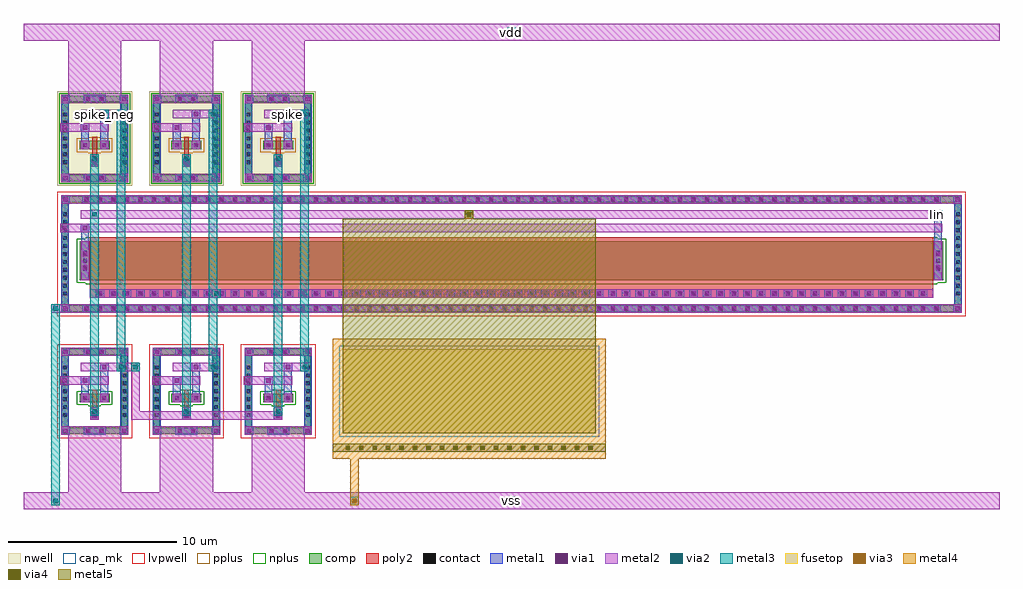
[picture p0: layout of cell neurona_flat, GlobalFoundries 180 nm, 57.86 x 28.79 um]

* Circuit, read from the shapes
.subckt neurona_flat Iin spike spike_neg vdd vss
XM1 Iin n1 vss vss nfet_03v3 w=2.3u l=50u
XM2 spike_neg Iin vss vss nfet_03v3 w=0.5u l=0.28u
XM3 n1 spike_neg vss vss nfet_03v3 w=0.5u l=0.28u
XM4 spike spike_neg vss vss nfet_03v3 w=0.5u l=0.28u
XM5 spike_neg Iin vdd vdd pfet_03v3 w=0.5u l=0.28u
XM6 n1 spike_neg vdd vdd pfet_03v3 w=0.5u l=0.28u
XM7 spike spike_neg vdd vdd pfet_03v3 w=0.5u l=0.28u
XC8 n2 vss cap_mim_2f0fF c_width=15u c_length=5u
.ends

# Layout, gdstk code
import gdstk
lib = gdstk.Library(unit=1e-6, precision=1e-09)
def R(c, l, rs):  # rectangles x0, y0, x1, y1
    for r in rs: c.add(gdstk.rectangle(r[:2], r[2:], *l))
def A(c, l, x, y, w, h, nx, ny, dx, dy):  # array of equal rectangles
    R(c, l, [(x+i*dx, y+j*dy, x+i*dx+w, y+j*dy+h) for i in range(nx) for j in range(ny)])
nwell = (21, 0)
comp = (22, 0)
poly2 = (30, 0)
pplus = (31, 0)
nplus = (32, 0)
contact = (33, 0)
metal1 = (34, 0)
via1 = (35, 0)
metal2 = (36, 0)
via2 = (38, 0)
via3 = (40, 0)
via4 = (41, 0)
metal3 = (42, 0)
metal4 = (46, 0)
fusetop = (75, 0)
metal5 = (81, 0)
cap_mk = (117, 5)
lvpwell = (204, 0)

neurona_flat = lib.new_cell('neurona_flat')
A(neurona_flat, nwell, 0, 14.99, 4.44, 5.6, 3, 1, 5.44, 0)
A(neurona_flat, comp, 0.28, 0.28, 3.88, 0.36, 3, 2, 5.44, 4.68)
A(neurona_flat, comp, 1.33, 2.145, 1.78, 0.5, 3, 2, 5.44, 14.99)
A(neurona_flat, comp, 0.28, 15.27, 3.88, 0.36, 3, 2, 5.44, 4.68)
R(neurona_flat, comp, [(0.28,0.64,0.64,4.96), (3.8,0.64,4.16,4.96), (5.72,0.64,6.08,4.96), (9.24,0.64,9.6,4.96), (11.16,0.64,11.52,4.96), (14.68,0.64,15.04,4.96), (0.28,7.525,53.58,7.885), (0.28,7.885,0.64,13.995), (53.22,7.885,53.58,13.995), (1.33,9.385,52.53,11.685), (0.28,13.995,53.58,14.355), (0.28,15.63,0.64,19.95), (3.8,15.63,4.16,19.95), (5.72,15.63,6.08,19.95), (9.24,15.63,9.6,19.95), (11.16,15.63,11.52,19.95), (14.68,15.63,15.04,19.95)])
A(neurona_flat, poly2, 1.97, 1.105, 0.5, 0.5, 3, 2, 5.44, 14.99)
A(neurona_flat, poly2, 2.08, 1.605, 0.28, 1.28, 3, 2, 5.44, 14.99)
R(neurona_flat, poly2, [(1.93,8.345,51.93,11.925)])
A(neurona_flat, pplus, 1.61, 0.25, 1.22, 0.01, 3, 2, 5.44, 0.41)
A(neurona_flat, pplus, 0.26, 0.26, 3.92, 0.4, 3, 2, 5.44, 4.68)
A(neurona_flat, pplus, 1.61, 4.93, 1.22, 0.01, 3, 2, 5.44, 0.41)
A(neurona_flat, pplus, 1.85, 16.905, 0.74, 0.07, 3, 2, 5.44, 0.89)
A(neurona_flat, pplus, 1.17, 16.975, 2.1, 0.82, 3, 1, 5.44, 0)
R(neurona_flat, pplus, [(0.26,0.66,0.66,1.09), (3.78,0.66,4.18,1.09), (5.7,0.66,6.1,1.09), (9.22,0.66,9.62,1.09), (11.14,0.66,11.54,1.09), (14.66,0.66,15.06,1.09), (0.25,1.09,0.67,4.51), (3.77,1.09,4.19,4.51), (5.69,1.09,6.11,4.51), (9.21,1.09,9.63,4.51), (11.13,1.09,11.55,4.51), (14.65,1.09,15.07,4.51), (0.26,4.51,0.66,4.94), (3.78,4.51,4.18,4.94), (5.7,4.51,6.1,4.94), (9.22,4.51,9.62,4.94), (11.14,4.51,11.54,4.94), (14.66,4.51,15.06,4.94), (1.52,7.495,52.34,7.505), (0.26,7.505,53.6,7.905), (0.26,7.905,0.67,8.23), (1.52,7.905,52.34,7.915), (53.19,7.905,53.6,8.23), (0.25,8.23,0.67,13.65), (53.19,8.23,53.61,13.65), (0.26,13.65,0.67,13.975), (53.19,13.65,53.6,13.975), (1.52,13.965,52.34,13.975), (0.26,13.975,53.6,14.375), (1.52,14.375,52.34,14.385)])
A(neurona_flat, nplus, 1.85, 1.915, 0.74, 0.07, 3, 2, 5.44, 0.89)
A(neurona_flat, nplus, 1.17, 1.985, 2.1, 0.82, 3, 1, 5.44, 0)
A(neurona_flat, nplus, 0.12, 15.11, 4.2, 0.54, 3, 2, 5.44, 4.82)
A(neurona_flat, nplus, 1.61, 15.65, 1.22, 0.01, 3, 2, 5.44, 4.27)
R(neurona_flat, nplus, [(1.7,9.155,52.16,9.225), (1.17,9.225,52.69,11.845), (1.7,11.845,52.16,11.915), (0.12,15.65,0.66,16.08), (3.78,15.65,4.32,16.08), (5.56,15.65,6.1,16.08), (9.22,15.65,9.76,16.08), (11,15.65,11.54,16.08), (14.66,15.65,15.2,16.08), (0.12,16.08,0.67,19.5), (3.77,16.08,4.32,19.5), (5.56,16.08,6.11,19.5), (9.21,16.08,9.76,19.5), (11,16.08,11.55,19.5), (14.65,16.08,15.2,19.5), (0.12,19.5,0.66,19.93), (3.78,19.5,4.32,19.93), (5.56,19.5,6.1,19.93), (9.22,19.5,9.76,19.93), (11,19.5,11.54,19.93), (14.66,19.5,15.2,19.93)])
A(neurona_flat, contact, 2.11, 1.245, 0.22, 0.22, 3, 2, 5.44, 14.99)
A(neurona_flat, contact, 0.35, 1.28, 0.22, 0.22, 1, 7, 0, 0.47)
A(neurona_flat, contact, 3.87, 1.28, 0.22, 0.22, 1, 7, 0, 0.47)
A(neurona_flat, contact, 5.79, 1.28, 0.22, 0.22, 1, 7, 0, 0.47)
A(neurona_flat, contact, 9.31, 1.28, 0.22, 0.22, 1, 7, 0, 0.47)
A(neurona_flat, contact, 11.23, 1.28, 0.22, 0.22, 1, 7, 0, 0.47)
A(neurona_flat, contact, 14.75, 1.28, 0.22, 0.22, 1, 7, 0, 0.47)
A(neurona_flat, contact, 1.62, 7.595, 0.22, 0.22, 64, 2, 0.8, 6.47)
A(neurona_flat, contact, 0.35, 8.48, 0.22, 0.22, 1, 11, 0, 0.47)
A(neurona_flat, contact, 53.29, 8.48, 0.22, 0.22, 1, 11, 0, 0.47)
A(neurona_flat, contact, 2.42, 8.485, 0.22, 0.22, 62, 1, 0.8, 0)
A(neurona_flat, contact, 1.54, 9.955, 0.22, 0.22, 1, 3, 0, 0.47)
A(neurona_flat, contact, 52.1, 9.955, 0.22, 0.22, 1, 3, 0, 0.47)
A(neurona_flat, contact, 0.35, 16.27, 0.22, 0.22, 1, 7, 0, 0.47)
A(neurona_flat, contact, 3.87, 16.27, 0.22, 0.22, 1, 7, 0, 0.47)
A(neurona_flat, contact, 5.79, 16.27, 0.22, 0.22, 1, 7, 0, 0.47)
A(neurona_flat, contact, 9.31, 16.27, 0.22, 0.22, 1, 7, 0, 0.47)
A(neurona_flat, contact, 11.23, 16.27, 0.22, 0.22, 1, 7, 0, 0.47)
A(neurona_flat, contact, 14.75, 16.27, 0.22, 0.22, 1, 7, 0, 0.47)
R(neurona_flat, contact, [(1.71,0.35,1.93,0.57), (2.51,0.35,2.73,0.57), (7.15,0.35,7.37,0.57), (7.95,0.35,8.17,0.57), (12.59,0.35,12.81,0.57), (13.39,0.35,13.61,0.57), (1.54,2.285,1.76,2.505), (2.68,2.285,2.9,2.505), (6.98,2.285,7.2,2.505), (8.12,2.285,8.34,2.505), (12.42,2.285,12.64,2.505), (13.56,2.285,13.78,2.505), (1.71,5.03,1.93,5.25), (2.51,5.03,2.73,5.25), (7.15,5.03,7.37,5.25), (7.95,5.03,8.17,5.25), (12.59,5.03,12.81,5.25), (13.39,5.03,13.61,5.25), (1.71,15.34,1.93,15.56), (2.51,15.34,2.73,15.56), (7.15,15.34,7.37,15.56), (7.95,15.34,8.17,15.56), (12.59,15.34,12.81,15.56), (13.39,15.34,13.61,15.56), (1.54,17.275,1.76,17.495), (2.68,17.275,2.9,17.495), (6.98,17.275,7.2,17.495), (8.12,17.275,8.34,17.495), (12.42,17.275,12.64,17.495), (13.56,17.275,13.78,17.495), (1.71,20.02,1.93,20.24), (2.51,20.02,2.73,20.24), (7.15,20.02,7.37,20.24), (7.95,20.02,8.17,20.24), (12.59,20.02,12.81,20.24), (13.39,20.02,13.61,20.24)])
A(neurona_flat, metal1, 1.57, 0.21, 1.3, 0.5, 3, 2, 5.44, 4.68)
A(neurona_flat, metal1, 0.23, 0.71, 0.46, 2.485, 3, 2, 5.44, 14.99)
A(neurona_flat, metal1, 3.75, 0.71, 0.46, 4.18, 3, 2, 5.44, 14.99)
A(neurona_flat, metal1, 1.97, 1.105, 0.5, 0.5, 3, 2, 5.44, 14.99)
A(neurona_flat, metal1, 1.42, 2.645, 0.46, 0.55, 3, 2, 5.44, 14.99)
A(neurona_flat, metal1, 2.56, 2.645, 0.46, 1.35, 3, 2, 5.44, 14.99)
A(neurona_flat, metal1, 0.23, 3.695, 0.46, 1.195, 3, 2, 5.44, 14.99)
A(neurona_flat, metal1, 2.54, 3.995, 0.5, 0.5, 3, 2, 5.44, 14.99)
A(neurona_flat, metal1, 2.28, 8.345, 0.5, 0.5, 62, 1, 0.8, 0)
A(neurona_flat, metal1, 1.57, 15.2, 1.3, 0.5, 3, 2, 5.44, 4.68)
R(neurona_flat, metal1, [(0.23,0.21,0.73,0.71), (3.71,0.21,4.21,0.71), (5.67,0.21,6.17,0.71), (9.15,0.21,9.65,0.71), (11.11,0.21,11.61,0.71), (14.59,0.21,15.09,0.71), (1.4,2.145,1.9,2.645), (2.54,2.145,3.04,2.645), (6.84,2.145,7.34,2.645), (7.98,2.145,8.48,2.645), (12.28,2.145,12.78,2.645), (13.42,2.145,13.92,2.645), (0.19,3.195,0.69,3.695), (1.4,3.195,1.9,3.695), (5.63,3.195,6.13,3.695), (6.84,3.195,7.34,3.695), (11.07,3.195,11.57,3.695), (12.28,3.195,12.78,3.695), (0.23,4.89,0.73,5.39), (3.71,4.89,4.21,5.39), (5.67,4.89,6.17,5.39), (9.15,4.89,9.65,5.39), (11.11,4.89,11.61,5.39), (14.59,4.89,15.09,5.39), (0.23,7.455,0.73,7.955), (1.48,7.455,52.38,7.955), (53.13,7.455,53.63,7.955), (0.23,7.955,0.69,12.235), (53.17,7.955,53.63,13.925), (1.42,9.385,1.88,9.885), (51.98,9.385,52.44,9.885), (1.4,9.885,1.9,11.185), (51.96,9.885,52.46,11.185), (1.42,11.185,1.88,12.235), (51.98,11.185,52.44,13.035), (0.19,12.235,0.69,12.735), (1.4,12.235,1.9,12.735), (0.23,12.735,0.69,13.925), (51.96,13.035,52.46,13.535), (0.23,13.925,0.73,14.425), (1.48,13.925,52.38,14.425), (53.13,13.925,53.63,14.425), (0.23,15.2,0.73,15.7), (3.71,15.2,4.21,15.7), (5.67,15.2,6.17,15.7), (9.15,15.2,9.65,15.7), (11.11,15.2,11.61,15.7), (14.59,15.2,15.09,15.7), (1.4,17.135,1.9,17.635), (2.54,17.135,3.04,17.635), (6.84,17.135,7.34,17.635), (7.98,17.135,8.48,17.635), (12.28,17.135,12.78,17.635), (13.42,17.135,13.92,17.635), (0.19,18.185,0.69,18.685), (1.4,18.185,1.9,18.685), (5.63,18.185,6.13,18.685), (6.84,18.185,7.34,18.685), (11.07,18.185,11.57,18.685), (12.28,18.185,12.78,18.685), (0.23,19.88,0.73,20.38), (3.71,19.88,4.21,20.38), (5.67,19.88,6.17,20.38), (9.15,19.88,9.65,20.38), (11.11,19.88,11.61,20.38), (14.59,19.88,15.09,20.38)])
A(neurona_flat, via1, 2.09, 1.225, 0.26, 0.26, 3, 2, 5.44, 14.99)
A(neurona_flat, via1, 2.66, 4.115, 0.26, 0.26, 3, 2, 5.44, 14.99)
A(neurona_flat, via1, 1.6, 7.575, 0.26, 0.26, 64, 2, 0.8, 6.47)
A(neurona_flat, via1, 2.4, 8.465, 0.26, 0.26, 62, 1, 0.8, 0)
R(neurona_flat, via1, [(0.35,0.33,0.61,0.59), (1.69,0.33,1.95,0.59), (2.49,0.33,2.75,0.59), (3.83,0.33,4.09,0.59), (5.79,0.33,6.05,0.59), (7.13,0.33,7.39,0.59), (7.93,0.33,8.19,0.59), (9.27,0.33,9.53,0.59), (11.23,0.33,11.49,0.59), (12.57,0.33,12.83,0.59), (13.37,0.33,13.63,0.59), (14.71,0.33,14.97,0.59), (1.52,2.265,1.78,2.525), (2.66,2.265,2.92,2.525), (6.96,2.265,7.22,2.525), (8.1,2.265,8.36,2.525), (12.4,2.265,12.66,2.525), (13.54,2.265,13.8,2.525), (0.31,3.315,0.57,3.575), (1.52,3.315,1.78,3.575), (5.75,3.315,6.01,3.575), (6.96,3.315,7.22,3.575), (11.19,3.315,11.45,3.575), (12.4,3.315,12.66,3.575), (0.35,5.01,0.61,5.27), (1.69,5.01,1.95,5.27), (2.49,5.01,2.75,5.27), (3.83,5.01,4.09,5.27), (5.79,5.01,6.05,5.27), (7.13,5.01,7.39,5.27), (7.93,5.01,8.19,5.27), (9.27,5.01,9.53,5.27), (11.23,5.01,11.49,5.27), (12.57,5.01,12.83,5.27), (13.37,5.01,13.63,5.27), (14.71,5.01,14.97,5.27), (0.35,7.575,0.61,7.835), (53.25,7.575,53.51,7.835), (1.52,10.005,1.78,10.265), (52.08,10.005,52.34,10.265), (1.52,10.805,1.78,11.065), (52.08,10.805,52.34,11.065), (0.31,12.355,0.57,12.615), (1.52,12.355,1.78,12.615), (52.08,13.155,52.34,13.415), (0.35,14.045,0.61,14.305), (53.25,14.045,53.51,14.305), (0.35,15.32,0.61,15.58), (1.69,15.32,1.95,15.58), (2.49,15.32,2.75,15.58), (3.83,15.32,4.09,15.58), (5.79,15.32,6.05,15.58), (7.13,15.32,7.39,15.58), (7.93,15.32,8.19,15.58), (9.27,15.32,9.53,15.58), (11.23,15.32,11.49,15.58), (12.57,15.32,12.83,15.58), (13.37,15.32,13.63,15.58), (14.71,15.32,14.97,15.58), (1.52,17.255,1.78,17.515), (2.66,17.255,2.92,17.515), (6.96,17.255,7.22,17.515), (8.1,17.255,8.36,17.515), (12.4,17.255,12.66,17.515), (13.54,17.255,13.8,17.515), (0.31,18.305,0.57,18.565), (1.52,18.305,1.78,18.565), (5.75,18.305,6.01,18.565), (6.96,18.305,7.22,18.565), (11.19,18.305,11.45,18.565), (12.4,18.305,12.66,18.565), (0.35,20,0.61,20.26), (1.69,20,1.95,20.26), (2.49,20,2.75,20.26), (3.83,20,4.09,20.26), (5.79,20,6.05,20.26), (7.13,20,7.39,20.26), (7.93,20,8.19,20.26), (9.27,20,9.53,20.26), (11.23,20,11.49,20.26), (12.57,20,12.83,20.26), (13.37,20,13.63,20.26), (14.71,20,14.97,20.26)])
A(neurona_flat, metal2, 0.64, -3.2, 3.16, 3.41, 3, 1, 5.44, 0)
A(neurona_flat, metal2, 0.23, 0.21, 3.98, 0.5, 3, 2, 5.44, 4.68)
A(neurona_flat, metal2, 0.19, 3.195, 2.85, 0.5, 3, 2, 5.44, 14.99)
A(neurona_flat, metal2, 0.23, 15.2, 3.98, 0.5, 3, 2, 5.44, 4.68)
A(neurona_flat, metal2, 1.97, 16.095, 0.5, 0.75, 3, 1, 5.44, 0)
A(neurona_flat, metal2, 1.4, 18.985, 2.64, 0.5, 3, 1, 5.44, 0)
A(neurona_flat, metal2, 0.64, 20.38, 3.16, 3.21, 3, 1, 5.44, 0)
R(neurona_flat, metal2, [(-2,-4.2,55.86,-3.2), (1.97,1.105,2.47,1.855), (4.39,1.105,13.35,1.605), (4.39,1.605,4.89,3.995), (7.41,1.605,7.91,1.855), (12.85,1.605,13.35,1.855), (1.4,2.145,1.9,2.645), (2.54,2.145,3.04,2.645), (6.84,2.145,7.34,2.645), (7.98,2.145,8.48,2.645), (12.28,2.145,12.78,2.645), (13.42,2.145,13.92,2.645), (1.4,3.995,4.89,4.495), (6.84,3.995,9.48,4.495), (12.28,3.995,14.92,4.495), (-0.36,7.455,53.63,7.955), (1.93,8.345,51.93,8.845), (1.4,9.385,1.9,11.685), (51.96,9.385,52.46,11.685), (0.19,12.235,52.46,12.735), (1.4,13.035,52.46,13.535), (1.97,13.535,2.47,13.545), (0.23,13.925,53.63,14.425), (1.4,17.135,1.9,17.635), (2.54,17.135,3.04,17.635), (6.84,17.135,7.34,17.635), (7.98,17.135,8.48,17.635), (12.28,17.135,12.78,17.635), (13.42,17.135,13.92,17.635), (-2,23.59,55.86,24.59)])
A(neurona_flat, via2, 2.09, 1.475, 0.26, 0.26, 3, 2, 5.44, 14.99)
R(neurona_flat, via2, [(-0.24,-3.83,0.02,-3.57), (17.49,-3.83,17.75,-3.57), (26.8,-3.83,27.06,-3.57), (3.66,4.115,3.92,4.375), (4.51,4.115,4.77,4.375), (9.1,4.115,9.36,4.375), (14.54,4.115,14.8,4.375), (-0.24,7.575,0.02,7.835), (9.3,8.465,9.56,8.725), (24.29,13.155,24.55,13.415), (52.08,13.155,52.34,13.415), (2.09,13.165,2.35,13.425), (2.66,19.105,2.92,19.365), (3.66,19.105,3.92,19.365), (9.1,19.105,9.36,19.365), (13.54,19.105,13.8,19.365), (14.54,19.105,14.8,19.365), (26.8,23.96,27.06,24.22)])
R(neurona_flat, via3, [(17.49,-3.83,17.75,-3.57), (24.29,13.155,24.55,13.415)])
A(neurona_flat, via4, 17.09, -0.68, 0.26, 0.26, 19, 1, 0.8, 0)
R(neurona_flat, via4, [(24.29,13.155,24.55,13.415)])
A(neurona_flat, metal3, 1.97, 1.355, 0.5, 15.49, 3, 1, 5.44, 0)
R(neurona_flat, metal3, [(-0.36,-3.95,0.14,7.955), (17.37,-3.95,17.87,-3.45), (26.68,-3.95,27.18,-3.45), (3.54,3.995,4.04,19.485), (4.39,3.995,4.89,4.495), (8.98,3.995,9.48,8.345), (14.42,3.995,14.92,19.485), (8.98,8.345,9.68,8.845), (8.98,8.845,9.48,19.485), (24.17,13.035,24.67,13.535), (51.96,13.035,52.46,13.535), (2.54,18.985,3.04,19.485), (13.42,18.985,13.92,19.485), (26.68,23.84,27.18,24.34)])
R(neurona_flat, metal4, [(17.37,-3.95,17.87,-1.2), (16.32,-1.2,32.52,5.9), (24.17,13.035,24.67,13.535)])
R(neurona_flat, fusetop, [(16.92,0.3,31.92,5.3)])
R(neurona_flat, metal5, [(16.32,-0.8,32.52,-0.3), (16.92,0.3,31.92,13.035), (24.17,13.035,24.67,13.535)])
R(neurona_flat, cap_mk, [(16.72,0.1,32.12,5.5)])
A(neurona_flat, lvpwell, 0, 0, 4.44, 5.6, 3, 1, 5.44, 0)
R(neurona_flat, lvpwell, [(0,7.245,53.86,14.635)])
neurona_flat.add(gdstk.Label('vdd', (26.93,24.09), layer=42, texttype=10))
neurona_flat.add(gdstk.Label('vss', (26.93,-3.7), layer=42, texttype=10))
neurona_flat.add(gdstk.Label('spike', (13.67,19.235), layer=42, texttype=10))
neurona_flat.add(gdstk.Label('spike_neg', (2.79,19.235), layer=42, texttype=10))
neurona_flat.add(gdstk.Label('Iin', (52.21,13.285), layer=42, texttype=10))

lib.write_gds('neurona_flat.gds')
